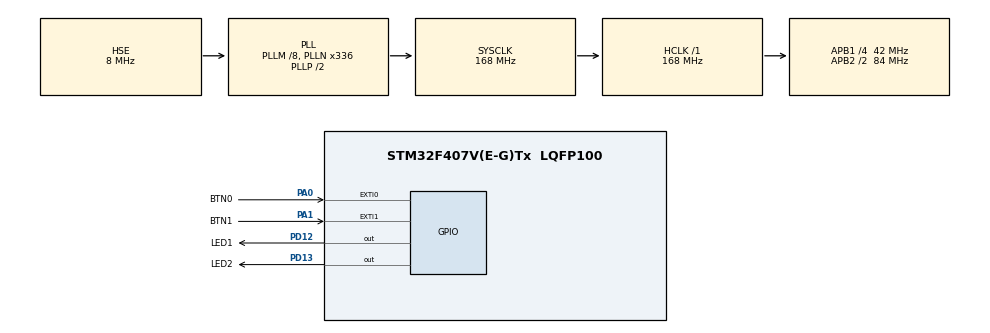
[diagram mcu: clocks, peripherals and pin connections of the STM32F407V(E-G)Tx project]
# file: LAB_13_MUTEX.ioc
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FREERTOS.Mutexes01=myMutex01,Dynamic,NULL,Available
FREERTOS.Tasks01=defaultTask,24,128,StartDefaultTask,Default,NULL,Dynamic,NULL,NULL;BTN1_Task,24,128,StartBTN1_Task,Default,NULL,Dynamic,NULL,NULL;BTN2_Task,24,128,StartBTN2_Task,Default,NULL,Dynamic,NULL,NULL;LEDTask,24,128,StartLEDTask,Default,NULL,Dynamic,NULL,NULL
FREERTOS.configUSE_NEWLIB_REENTRANT=1
Mcu.Family=STM32F4
Mcu.Name=STM32F407V(E-G)Tx
Mcu.Package=LQFP100
NVIC.EXTI0_IRQn=true\:5\:0\:false\:false\:true\:true\:true\:true\:true
NVIC.EXTI1_IRQn=true\:5\:0\:false\:false\:true\:true\:true\:true\:true
NVIC.PriorityGroup=NVIC_PRIORITYGROUP_4
NVIC.TIM1_UP_TIM10_IRQn=true\:15\:0\:false\:false\:true\:false\:false\:true\:true
NVIC.TimeBase=TIM1_UP_TIM10_IRQn
NVIC.TimeBaseIP=TIM1
PA0-WKUP.GPIO_Label=BTN0
PA0-WKUP.GPIO_PuPd=GPIO_PULLDOWN
PA0-WKUP.Signal=GPXTI0
PA1.GPIO_Label=BTN1
PA1.GPIO_PuPd=GPIO_PULLDOWN
PA1.Signal=GPXTI1
PA13.Mode=Serial_Wire
PA13.Signal=SYS_JTMS-SWDIO
PA14.Mode=Serial_Wire
PA14.Signal=SYS_JTCK-SWCLK
PD12.GPIO_Label=LED1
PD12.Signal=GPIO_Output
PD13.GPIO_Label=LED2
PD13.Signal=GPIO_Output
PH0-OSC_IN.Mode=HSE-External-Oscillator
PH0-OSC_IN.Signal=RCC_OSC_IN
PH1-OSC_OUT.Mode=HSE-External-Oscillator
PH1-OSC_OUT.Signal=RCC_OSC_OUT
ProjectManager.HeapSize=0x200
ProjectManager.StackSize=0x400
ProjectManager.TargetToolchain=STM32CubeIDE
RCC.48MHZClocksFreq_Value=48000000
RCC.AHBFreq_Value=168000000
RCC.APB1CLKDivider=RCC_HCLK_DIV4
RCC.APB1Freq_Value=42000000
RCC.APB1TimFreq_Value=84000000
RCC.APB2CLKDivider=RCC_HCLK_DIV2
RCC.APB2Freq_Value=84000000
RCC.APB2TimFreq_Value=168000000
RCC.CortexFreq_Value=168000000
RCC.HCLKFreq_Value=168000000
RCC.HSE_VALUE=8000000
RCC.HSI_VALUE=16000000
RCC.LSE_VALUE=32768
RCC.PLLM=8
RCC.PLLN=336
RCC.PLLQ=7
RCC.PLLSourceVirtual=RCC_PLLSOURCE_HSE
RCC.SYSCLKFreq_VALUE=168000000
RCC.SYSCLKSource=RCC_SYSCLKSOURCE_PLLCLK
RCC.VCOOutputFreq_Value=336000000
VP_FREERTOS_VS_CMSIS_V2.Mode=CMSIS_V2
VP_SYS_VS_tim1.Mode=TIM1
board=STM32F407G-DISC1

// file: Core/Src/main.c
/* USER CODE BEGIN Header */
/**
  ******************************************************************************
  * @file           : main.c
  * @brief          : Main program body
  ******************************************************************************
  * @attention
  *
  * Copyright (c) 2024 STMicroelectronics.
  * All rights reserved.
  *
  * This software is licensed under terms that can be found in the LICENSE file
  * in the root directory of this software component.
  * If no LICENSE file comes with this software, it is provided AS-IS.
  *
  ******************************************************************************
  */
/* USER CODE END Header */
#include "main.h"
#include "cmsis_os.h"

/* USER CODE BEGIN PTD */
// LED command structure
typedef struct
{
    uint8_t ledType;      // 0: GREEN (PD13), 1: ORANGE (PD12)
    uint8_t action;       // 0: TOGGLE, 1: BLINK
    uint16_t blinkCount;
    uint32_t blinkDelay;
} LED_Command_t;

// Button press structure for interrupt handling
typedef struct
{
    uint8_t buttonId;     // 0: PA0, 1: PA1
    uint32_t pressTime;
} Button_Press_t;
/* USER CODE END PTD */

/* USER CODE BEGIN PD */
#define DEBOUNCE_DELAY_MS 	200
#define BUTTON_PA0 			0
#define BUTTON_PA1 			1
/* USER CODE END PD */

/* Definitions for defaultTask */
osThreadId_t defaultTaskHandle;
const osThreadAttr_t defaultTask_attributes = {
  .name = "defaultTask",
  .stack_size = 128 * 4,
  .priority = (osPriority_t) osPriorityNormal,
};
/* Definitions for BTN1_Task */
osThreadId_t BTN1_TaskHandle;
const osThreadAttr_t BTN1_Task_attributes = {
  .name = "BTN1_Task",
  .stack_size = 256 * 4,
  .priority = (osPriority_t) osPriorityNormal,
};
/* Definitions for BTN2_Task */
osThreadId_t BTN2_TaskHandle;
const osThreadAttr_t BTN2_Task_attributes = {
  .name = "BTN2_Task",
  .stack_size = 256 * 4,
  .priority = (osPriority_t) osPriorityNormal,
};
/* Definitions for LEDTask */
osThreadId_t LEDTaskHandle;
const osThreadAttr_t LEDTask_attributes = {
  .name = "LEDTask",
  .stack_size = 512 * 4,
  .priority = (osPriority_t) osPriorityNormal,
};
/* Definitions for myMutex01 */
osMutexId_t myMutex01Handle;
const osMutexAttr_t myMutex01_attributes = {
  .name = "myMutex01"
};
/* USER CODE BEGIN PV */
osMessageQueueId_t ledQueueHandle;
osMessageQueueId_t buttonQueueHandle;
uint32_t lastPressTimePA0 = 0;
uint32_t lastPressTimePA1 = 0;
/* USER CODE END PV */

void SystemClock_Config(void);
static void MX_GPIO_Init(void);
void StartDefaultTask(void *argument);
void StartBTN1_Task(void *argument);
void StartBTN2_Task(void *argument);
void StartLEDTask(void *argument);

/* USER CODE BEGIN PFP */
void LED_Toggle(GPIO_TypeDef* GPIOx, uint16_t GPIO_Pin);
uint8_t IsButtonPressed(uint8_t buttonId, uint32_t* lastPressTime);
void ProcessButtonPress(uint8_t buttonId);
/* USER CODE END PFP */

int main(void)
{

  /* MCU Configuration--------------------------------------------------------*/

  /* Reset of all peripherals, Initializes the Flash interface and the Systick. */
  HAL_Init();

  /* Configure the system clock */
  SystemClock_Config();

  /* Initialize all configured peripherals */
  MX_GPIO_Init();
  /* USER CODE BEGIN 2 */
  // Create message queues
  ledQueueHandle 	= osMessageQueueNew(10, sizeof(LED_Command_t), NULL);
  buttonQueueHandle = osMessageQueueNew(10, sizeof(Button_Press_t), NULL);
  HAL_GPIO_WritePin(LED1_GPIO_Port, LED1_Pin, GPIO_PIN_RESET); // Orange LED (PD12)
  HAL_GPIO_WritePin(LED2_GPIO_Port, LED2_Pin, GPIO_PIN_RESET); // Green LED (PD13)
  /* USER CODE END 2 */

  /* Init scheduler */
  osKernelInitialize();
  /* Create the mutex(es) */
  /* creation of myMutex01 */
  myMutex01Handle = osMutexNew(&myMutex01_attributes);

  /* Create the thread(s) */
  /* creation of defaultTask */
  defaultTaskHandle = osThreadNew(StartDefaultTask, NULL, &defaultTask_attributes);

  /* creation of BTN1_Task */
  BTN1_TaskHandle = osThreadNew(StartBTN1_Task, NULL, &BTN1_Task_attributes);

  /* creation of BTN2_Task */
  BTN2_TaskHandle = osThreadNew(StartBTN2_Task, NULL, &BTN2_Task_attributes);

  /* creation of LEDTask */
  LEDTaskHandle = osThreadNew(StartLEDTask, NULL, &LEDTask_attributes);

  /* Start scheduler */
  osKernelStart();

  /* We should never get here as control is now taken by the scheduler */

  /* Infinite loop */
  while (1)
  {

  }
}

void SystemClock_Config(void)
{
  RCC_OscInitTypeDef RCC_OscInitStruct = {0};
  RCC_ClkInitTypeDef RCC_ClkInitStruct = {0};

  /** Configure the main internal regulator output voltage
  */
  __HAL_RCC_PWR_CLK_ENABLE();
  __HAL_PWR_VOLTAGESCALING_CONFIG(PWR_REGULATOR_VOLTAGE_SCALE1);

  /** Initializes the RCC Oscillators according to the specified parameters
  * in the RCC_OscInitTypeDef structure.
  */
  RCC_OscInitStruct.OscillatorType = RCC_OSCILLATORTYPE_HSE;
  RCC_OscInitStruct.HSEState = RCC_HSE_ON;
  RCC_OscInitStruct.PLL.PLLState = RCC_PLL_ON;
  RCC_OscInitStruct.PLL.PLLSource = RCC_PLLSOURCE_HSE;
  RCC_OscInitStruct.PLL.PLLM = 8;
  RCC_OscInitStruct.PLL.PLLN = 336;
  RCC_OscInitStruct.PLL.PLLP = RCC_PLLP_DIV2;
  RCC_OscInitStruct.PLL.PLLQ = 7;
  if (HAL_RCC_OscConfig(&RCC_OscInitStruct) != HAL_OK)
  {
    Error_Handler();
  }

  /** Initializes the CPU, AHB and APB buses clocks
  */
  RCC_ClkInitStruct.ClockType = RCC_CLOCKTYPE_HCLK|RCC_CLOCKTYPE_SYSCLK
                              |RCC_CLOCKTYPE_PCLK1|RCC_CLOCKTYPE_PCLK2;
  RCC_ClkInitStruct.SYSCLKSource = RCC_SYSCLKSOURCE_PLLCLK;
  RCC_ClkInitStruct.AHBCLKDivider = RCC_SYSCLK_DIV1;
  RCC_ClkInitStruct.APB1CLKDivider = RCC_HCLK_DIV4;
  RCC_ClkInitStruct.APB2CLKDivider = RCC_HCLK_DIV2;

  if (HAL_RCC_ClockConfig(&RCC_ClkInitStruct, FLASH_LATENCY_5) != HAL_OK)
  {
    Error_Handler();
  }
}

static void MX_GPIO_Init(void)
{
  GPIO_InitTypeDef GPIO_InitStruct = {0};

  /* GPIO Ports Clock Enable */
  __HAL_RCC_GPIOH_CLK_ENABLE();
  __HAL_RCC_GPIOA_CLK_ENABLE();
  __HAL_RCC_GPIOD_CLK_ENABLE();

  /*Configure GPIO pin Output Level */
  HAL_GPIO_WritePin(GPIOD, LED1_Pin|LED2_Pin, GPIO_PIN_RESET);

  /*Configure GPIO pins : BTN0_Pin BTN1_Pin */
  GPIO_InitStruct.Pin = BTN0_Pin|BTN1_Pin;
  GPIO_InitStruct.Mode = GPIO_MODE_IT_RISING;
  GPIO_InitStruct.Pull = GPIO_PULLDOWN;
  HAL_GPIO_Init(GPIOA, &GPIO_InitStruct);

  /*Configure GPIO pins : LED1_Pin LED2_Pin */
  GPIO_InitStruct.Pin = LED1_Pin|LED2_Pin;
  GPIO_InitStruct.Mode = GPIO_MODE_OUTPUT_PP;
  GPIO_InitStruct.Pull = GPIO_NOPULL;
  GPIO_InitStruct.Speed = GPIO_SPEED_FREQ_LOW;
  HAL_GPIO_Init(GPIOD, &GPIO_InitStruct);

  /* EXTI interrupt init*/
  HAL_NVIC_SetPriority(EXTI0_IRQn, 5, 0);
  HAL_NVIC_EnableIRQ(EXTI0_IRQn);

  HAL_NVIC_SetPriority(EXTI1_IRQn, 5, 0);
  HAL_NVIC_EnableIRQ(EXTI1_IRQn);

}

/* USER CODE BEGIN 4 */
void LED_Toggle(GPIO_TypeDef* GPIOx, uint16_t GPIO_Pin)
{
    HAL_GPIO_TogglePin(GPIOx, GPIO_Pin);
}
uint8_t IsButtonPressed(uint8_t buttonId, uint32_t* lastPressTime)
{
    uint32_t currentTime = osKernelGetTickCount();
    if ((currentTime - *lastPressTime) > DEBOUNCE_DELAY_MS)
    {
        *lastPressTime = currentTime;
        return 1;
    }
    return 0;
}
void ProcessButtonPress(uint8_t buttonId)
{
    LED_Command_t ledCmd;
    ledCmd.ledType 	= 0;
    ledCmd.action 	= 0;
    osMessageQueuePut(ledQueueHandle, &ledCmd, 0, 0);
    ledCmd.ledType 	= 1;
    ledCmd.action 	= 1;
    if (buttonId == BUTTON_PA0)
    {
        ledCmd.blinkCount = 30;
        ledCmd.blinkDelay = 200;
    }
    else
    {
        ledCmd.blinkCount = 20;
        ledCmd.blinkDelay = 1000;
    }
    osMessageQueuePut(ledQueueHandle, &ledCmd, 0, 0);
}
void HAL_GPIO_EXTI_Callback(uint16_t GPIO_Pin)
{
    Button_Press_t buttonPress;
    if (GPIO_Pin == BTN0_Pin)
    {
        if (IsButtonPressed(BUTTON_PA0, &lastPressTimePA0))
        {
            buttonPress.buttonId 	= BUTTON_PA0;
            buttonPress.pressTime 	= osKernelGetTickCount();
            osMessageQueuePut(buttonQueueHandle, &buttonPress, 0, 0);
        }
    }
    else if (GPIO_Pin == BTN1_Pin)
    {
        if (IsButtonPressed(BUTTON_PA1, &lastPressTimePA1))
        {
            buttonPress.buttonId 	= BUTTON_PA1;
            buttonPress.pressTime 	= osKernelGetTickCount();
            osMessageQueuePut(buttonQueueHandle, &buttonPress, 0, 0);
        }
    }
}
/* USER CODE END 4 */

void StartDefaultTask(void *argument)
{
  /* USER CODE BEGIN 5 */
  /* Infinite loop */
  for(;;)
  {
    osDelay(1000);
  }
  /* USER CODE END 5 */
}

void StartBTN1_Task(void *argument)
{
  /* USER CODE BEGIN StartBTN1_Task */
  Button_Press_t buttonPress;
  /* Infinite loop */
  for(;;)
  {
    if (osMessageQueueGet(buttonQueueHandle, &buttonPress, NULL, osWaitForever) == osOK)
    {
        ProcessButtonPress(buttonPress.buttonId);
    }
  }
  /* USER CODE END StartBTN1_Task */
}

void StartBTN2_Task(void *argument)
{
  /* USER CODE BEGIN StartBTN2_Task */
  /* This task can be used for other functionality */
  /* Infinite loop */
  for(;;)
  {
    osDelay(1000);
  }
  /* USER CODE END StartBTN2_Task */
}

void StartLEDTask(void *argument)
{
  /* USER CODE BEGIN StartLEDTask */
  LED_Command_t ledCmd;
  /* Infinite loop */
  for(;;)
  {
	if (osMessageQueueGet(ledQueueHandle, &ledCmd, NULL, osWaitForever) == osOK)
	{
		if (osMutexAcquire(myMutex01Handle, osWaitForever) == osOK)
		{
			switch (ledCmd.action)
			{
				case 0: // TOGGLE
					if (ledCmd.ledType == 0)
					{
						LED_Toggle(LED2_GPIO_Port, LED2_Pin);
					}
					else
					{
						LED_Toggle(LED1_GPIO_Port, LED1_Pin);
					}
					break;
				case 1: // BLINK
					if (ledCmd.ledType == 1)
					{
						for (int i = 0; i < ledCmd.blinkCount * 2; i++)
						{
							LED_Toggle(LED1_GPIO_Port, LED1_Pin);
							osDelay(ledCmd.blinkDelay);
						}
					}
					break;
				default: break;
			}
			osMutexRelease(myMutex01Handle);
		}
	}
  }
  /* USER CODE END StartLEDTask */
}

void HAL_TIM_PeriodElapsedCallback(TIM_HandleTypeDef *htim)
{
  if (htim->Instance == TIM1) {
    HAL_IncTick();
  }
}

void Error_Handler(void)
{
  __disable_irq();
  while (1)
  {
  }
}
